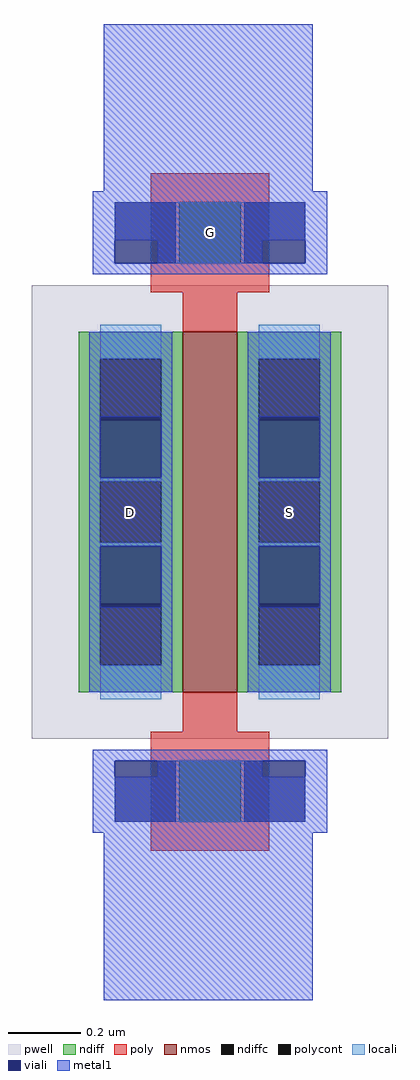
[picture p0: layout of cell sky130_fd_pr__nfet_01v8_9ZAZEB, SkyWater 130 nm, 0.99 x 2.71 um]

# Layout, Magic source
magic
tech sky130A
magscale 1 2
<< pwell >>
rect -99 -126 99 126
<< nmos >>
rect -15 -100 15 100
<< ndiff >>
rect -73 85 -15 100
rect -73 51 -61 85
rect -27 51 -15 85
rect -73 17 -15 51
rect -73 -17 -61 17
rect -27 -17 -15 17
rect -73 -51 -15 -17
rect -73 -85 -61 -51
rect -27 -85 -15 -51
rect -73 -100 -15 -85
rect 15 85 73 100
rect 15 51 27 85
rect 61 51 73 85
rect 15 17 73 51
rect 15 -17 27 17
rect 61 -17 73 17
rect 15 -51 73 -17
rect 15 -85 27 -51
rect 61 -85 73 -51
rect 15 -100 73 -85
<< ndiffc >>
rect -61 51 -27 85
rect -61 -17 -27 17
rect -61 -85 -27 -51
rect 27 51 61 85
rect 27 -17 61 17
rect 27 -85 61 -51
<< poly >>
rect -33 172 33 188
rect -33 138 -17 172
rect 17 138 33 172
rect -33 122 33 138
rect -15 100 15 122
rect -15 -122 15 -100
rect -33 -138 33 -122
rect -33 -172 -17 -138
rect 17 -172 33 -138
rect -33 -188 33 -172
<< polycont >>
rect -17 138 17 172
rect -17 -172 17 -138
<< locali >>
rect -33 138 -17 172
rect 17 138 33 172
rect -61 85 -27 104
rect -61 17 -27 19
rect -61 -19 -27 -17
rect -61 -104 -27 -85
rect 27 85 61 104
rect 27 17 61 19
rect 27 -19 61 -17
rect 27 -104 61 -85
rect -33 -172 -17 -138
rect 17 -172 33 -138
<< viali >>
rect -61 51 -27 53
rect -61 19 -27 51
rect -61 -51 -27 -19
rect -61 -53 -27 -51
rect 27 51 61 53
rect 27 19 61 51
rect 27 -51 61 -19
rect 27 -53 61 -51
<< metal1 >>
rect -59 151 57 271
rect -29 132 29 151
rect -67 53 -21 100
rect -67 19 -61 53
rect -27 19 -21 53
rect -67 -19 -21 19
rect -67 -53 -61 -19
rect -27 -53 -21 -19
rect -67 -100 -21 -53
rect 21 53 67 100
rect 21 19 27 53
rect 61 19 67 53
rect 21 -19 67 19
rect 21 -53 27 -19
rect 61 -53 67 -19
rect 21 -100 67 -53
rect -29 -147 29 -132
rect -59 -271 57 -147
use L1M1_MAG_7849107791413  L1M1_MAG_7849107791413_0
transform 1 0 0 0 1 155
box -65 -23 65 23
use L1M1_MAG_7849107791413  L1M1_MAG_7849107791413_1
transform 1 0 0 0 1 -155
box -65 -23 65 23
<< labels >>
rlabel locali s 0 155 0 155 4 G
rlabel locali s 44 0 44 0 4 S
rlabel locali s -44 0 -44 0 4 D
<< end >>

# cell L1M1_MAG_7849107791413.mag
magic
tech sky130A
magscale 1 2
<< locali >>
rect -19 -17 19 17
<< viali >>
rect -53 -17 -19 17
rect 19 -17 53 17
<< metal1 >>
rect -65 17 65 23
rect -65 -17 -53 17
rect -19 -17 19 17
rect 53 -17 65 17
rect -65 -23 65 -17
<< end >>
